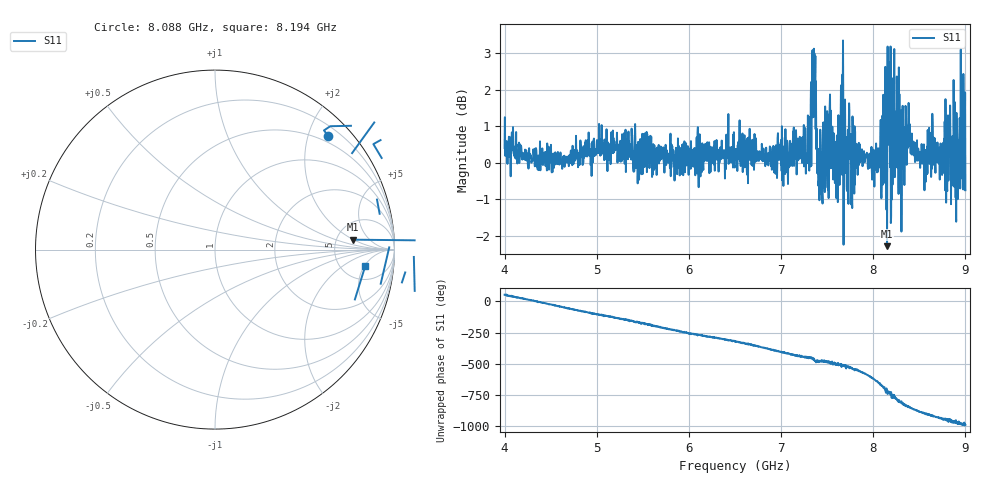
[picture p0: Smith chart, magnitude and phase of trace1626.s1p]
! Created with skrf 1.8.0 (http://scikit-rf.org).
# Hz S RI R 50.0
!freq ReS11 ImS11
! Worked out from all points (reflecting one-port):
!   1601 points, 4 GHz to 9 GHz, reference 50 ohm
!   lowest |S11| = -2.3 dB at 8.15 GHz (marker M1), VSWR 7.67, Z = 357 + j96.6 ohm
!   phase of S11 starts at 52 deg and turns -1042 deg over the sweep
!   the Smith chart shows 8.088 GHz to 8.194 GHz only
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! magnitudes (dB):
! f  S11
! 4 GHz  0.4
! 4.625 GHz  -0.2
! 5.25 GHz  0.1
! 5.875 GHz  0.0
! 6.5 GHz  0.3
! 7.125 GHz  0.6
! 7.294 GHz  0.1
! 7.356 GHz  3.1
! 7.4 GHz  0.4
! 7.428 GHz  0.6
! 7.512 GHz  0.8
! 7.544 GHz  0.2
! 7.591 GHz  0.6
! 7.669 GHz  1.5
! 7.703 GHz  0.5
! 7.75 GHz  0.3
! 8.069 GHz  -0.1
! 8.15 GHz  -2.3
! 8.178 GHz  2.7
! 8.216 GHz  2.0
! 8.262 GHz  -0.1
! 8.312 GHz  1.3
! 8.375 GHz  1.0
! 8.556 GHz  -0.7
! 8.834 GHz  1.6
! 8.906 GHz  1.0
! 8.959 GHz  2.3
! 9 GHz  -0.7
